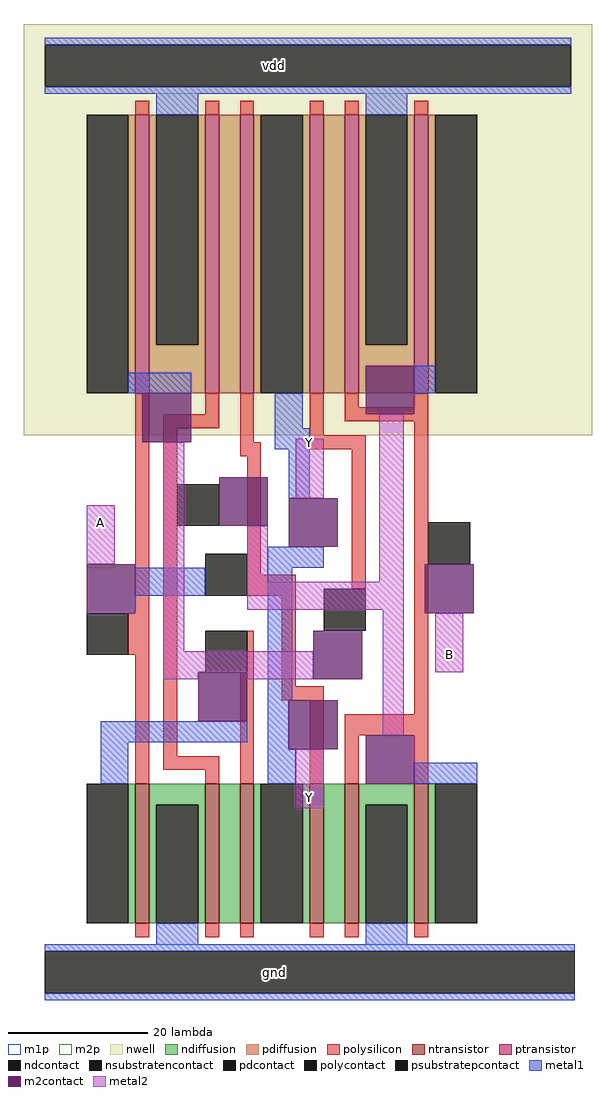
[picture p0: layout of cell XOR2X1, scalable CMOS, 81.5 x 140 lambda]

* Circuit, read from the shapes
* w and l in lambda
.subckt XOR2X1 A B Y vdd gnd
M1 gnd A n1 gnd nfet w=20 l=2
M2 n2 n3 gnd gnd nfet w=20 l=2
M3 Y n1 n2 gnd nfet w=20 l=2
M4 n4 A Y gnd nfet w=20 l=2
M5 gnd B n4 gnd nfet w=20 l=2
M6 n3 B gnd gnd nfet w=20 l=2
M7 vdd A n1 vdd pfet w=40 l=2
M8 n5 n3 vdd vdd pfet w=40 l=2
M9 Y A n5 vdd pfet w=40 l=2
M10 n6 n1 Y vdd pfet w=40 l=2
M11 vdd B n6 vdd pfet w=40 l=2
M12 n3 B vdd vdd pfet w=40 l=2
.ends

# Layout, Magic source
magic
tech scmos
magscale 1 2
<< nwell >>
rect -12 154 151 272
<< ntransistor >>
rect 20 14 24 54
rect 40 14 44 54
rect 50 14 54 54
rect 70 14 74 54
rect 80 14 84 54
rect 100 14 104 54
<< ptransistor >>
rect 20 166 24 246
rect 40 166 44 246
rect 50 166 54 246
rect 70 166 74 246
rect 80 166 84 246
rect 100 166 104 246
<< ndiffusion >>
rect 18 14 20 54
rect 24 48 40 54
rect 24 14 26 48
rect 38 14 40 48
rect 44 14 50 54
rect 54 14 56 54
rect 68 14 70 54
rect 74 14 80 54
rect 84 48 100 54
rect 84 14 86 48
rect 98 14 100 48
rect 104 14 106 54
<< pdiffusion >>
rect 18 166 20 246
rect 24 180 26 246
rect 38 180 40 246
rect 24 166 40 180
rect 44 166 50 246
rect 54 166 56 246
rect 68 166 70 246
rect 74 166 80 246
rect 84 180 86 246
rect 98 180 100 246
rect 84 166 100 180
rect 104 166 106 246
<< ndcontact >>
rect 6 14 18 54
rect 26 14 38 48
rect 56 14 68 54
rect 86 14 98 48
rect 106 14 118 54
<< pdcontact >>
rect 6 166 18 246
rect 26 180 38 246
rect 56 166 68 246
rect 86 180 98 246
rect 106 166 118 246
<< psubstratepcontact >>
rect -6 -6 146 6
<< nsubstratencontact >>
rect -6 254 145 266
<< polysilicon >>
rect 20 246 24 250
rect 40 246 44 250
rect 50 246 54 250
rect 70 246 74 250
rect 80 246 84 250
rect 100 246 104 250
rect 20 103 24 166
rect 40 160 44 166
rect 18 91 24 103
rect 20 54 24 91
rect 28 156 44 160
rect 28 62 32 156
rect 50 152 54 166
rect 70 154 74 166
rect 80 162 84 166
rect 100 162 104 166
rect 80 158 104 162
rect 50 148 56 152
rect 70 150 86 154
rect 52 114 56 148
rect 52 108 66 114
rect 82 110 86 150
rect 52 86 54 98
rect 28 58 44 62
rect 40 54 44 58
rect 50 54 54 86
rect 62 82 66 108
rect 62 78 74 82
rect 70 54 74 78
rect 100 74 104 158
rect 80 68 104 74
rect 80 54 84 68
rect 100 54 104 68
rect 20 10 24 14
rect 40 10 44 14
rect 50 10 54 14
rect 70 10 74 14
rect 80 10 84 14
rect 100 10 104 14
<< polycontact >>
rect 6 91 18 103
rect 32 128 44 140
rect 40 108 52 120
rect 40 86 52 98
rect 74 98 86 110
rect 104 117 116 129
<< metal1 >>
rect -6 266 145 268
rect -6 252 145 254
rect 26 246 38 252
rect 86 246 98 252
rect 18 166 36 172
rect 60 156 68 166
rect 100 166 106 174
rect 60 150 70 156
rect 64 136 70 150
rect 20 108 40 116
rect 58 116 74 122
rect 10 66 52 72
rect 58 78 65 116
rect 10 54 18 66
rect 58 64 64 78
rect 58 54 66 64
rect 100 54 118 60
rect 26 8 38 14
rect 86 8 98 14
rect -6 6 146 8
rect -6 -8 146 -6
<< m2contact >>
rect 22 152 36 166
rect 86 160 100 174
rect 44 128 58 142
rect 64 122 78 136
rect 6 103 20 117
rect 38 72 52 86
rect 103 103 117 117
rect 71 84 85 98
rect 64 64 78 78
rect 86 54 100 68
<< metal2 >>
rect 6 117 14 134
rect 28 92 34 152
rect 66 136 74 153
rect 52 112 58 128
rect 90 112 97 160
rect 52 104 97 112
rect 28 86 71 92
rect 28 84 38 86
rect 52 84 71 86
rect 91 68 97 104
rect 106 86 114 103
rect 66 47 74 64
<< m1p >>
rect -6 252 145 268
rect -6 -8 146 8
<< m2p >>
rect 66 136 74 153
rect 6 116 14 134
rect 106 86 114 103
rect 66 47 74 64
<< labels >>
rlabel metal1 -6 252 126 268 0 vdd
port 4 nsew power bidirectional abutment
rlabel metal1 -6 -8 126 8 0 gnd
port 5 nsew ground bidirectional abutment
rlabel metal2 10 129 10 129 1 A
port 1 n signal input
rlabel metal2 70 152 70 152 5 Y
port 3 n signal output
rlabel metal2 70 50 70 50 1 Y
port 3 n signal output
rlabel metal2 110 91 110 91 5 B
port 2 n signal input
<< properties >>
string FIXED_BBOX 0 0 140 260
string LEFclass CORE
string LEFsite core
string LEFsymmetry X Y
<< end >>
